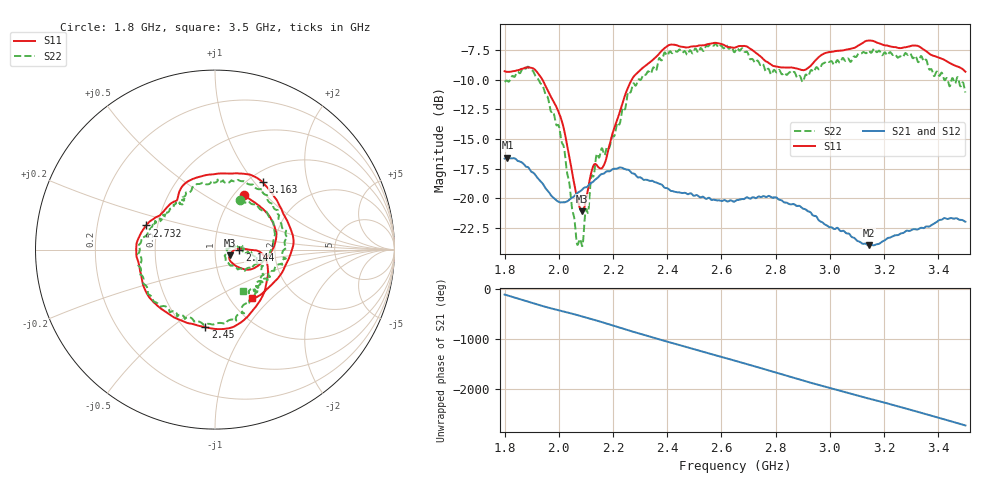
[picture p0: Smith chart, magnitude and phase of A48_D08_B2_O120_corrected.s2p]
! Created with skrf 1.9.0 (http://scikit-rf.org).
# Hz S RI R 50.0
!freq ReS11 ImS11 ReS21 ImS21 ReS12 ImS12 ReS22 ImS22
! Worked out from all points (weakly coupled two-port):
!   1601 points, 1.8 GHz to 3.5 GHz, reference 50 ohm
!   highest |S21| = -16.57 dB at 1.811 GHz (marker M1); lowest = -24.0 dB at 3.144 GHz (marker M2)
!   lowest |S11| = -21.1 dB at 2.086 GHz (marker M3), VSWR 1.19, Z = 58.8 - j3.85 ohm
!   |S11| at or under -10 dB: 1.94 GHz to 2.269 GHz (329.5 MHz wide, 15.7 % of centre)
!   |S22| runs from -24.0 to -7.0 dB; largest |S21 - S12| = 0.0028
!   S11 on the Smith chart (normalised r, x): 1.8 GHz: 1.12, +0.76; 2.144 GHz: 1.31, -0.01; 2.45 GHz: 0.62, -0.67; 2.732 GHz: 0.43, +0.14; 3.163 GHz: 1.16, +1.11; 3.5 GHz: 1.26, -0.77
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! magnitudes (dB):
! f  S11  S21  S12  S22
! 1.8 GHz  -9.3  -16.7  -16.7  -10.2
! 1.811 GHz  -9.3  -16.6  -16.6  -10.1
! 1.887 GHz  -9.0  -17.4  -17.5  -8.9
! 1.941 GHz  -10.1  -18.8  -18.8  -10.5
! 2.01 GHz  -13.4  -20.3  -20.3  -15.2
! 2.065 GHz  -19.7  -19.6  -19.6  -23.4
! 2.084 GHz  -21.1  -19.3  -19.3  -23.9
! 2.086 GHz  -21.1  -19.3  -19.3  -24.0
! 2.125 GHz  -17.4  -18.6  -18.6  -18.1
! 2.144 GHz  -17.3  -18.2  -18.2  -16.4
! 2.169 GHz  -17.1  -17.9  -17.9  -16.4
! 2.268 GHz  -10.1  -17.8  -17.8  -10.9
! 2.367 GHz  -7.9  -18.7  -18.7  -8.4
! 2.45 GHz  -7.2  -19.5  -19.5  -7.6
! 2.65 GHz  -7.3  -20.3  -20.2  -7.6
! 2.732 GHz  -7.8  -19.9  -19.9  -8.4
! 2.934 GHz  -8.7  -21.3  -21.3  -9.2
! 3.144 GHz  -6.7  -24.0  -23.9  -7.5
! 3.163 GHz  -6.7  -24.0  -23.9  -7.4
! 3.217 GHz  -7.2  -23.3  -23.3  -7.8
! 3.342 GHz  -7.4  -22.5  -22.5  -8.2
! 3.5 GHz  -9.3  -22.0  -22.0  -11.1
